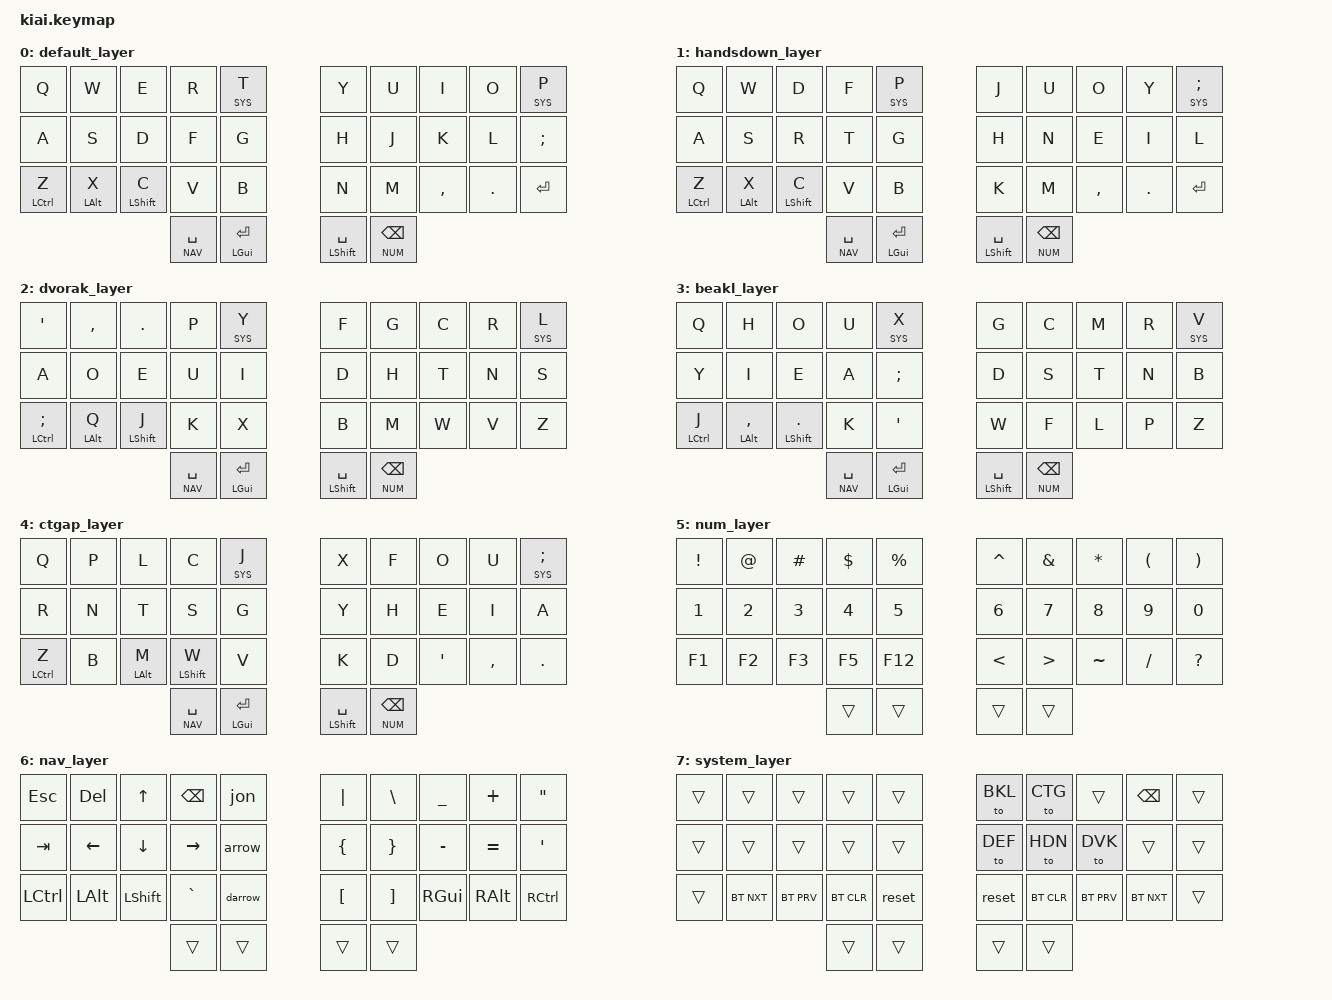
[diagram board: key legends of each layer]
#include <behaviors.dtsi>
#include <dt-bindings/zmk/keys.h>
#include <dt-bindings/zmk/bt.h>

#define DEF 0
#define HDN 1
#define DVK 2
#define BKL 3
#define CTG 4
#define NUM 5
#define NAV 6
#define SYS 7

/ {

    behaviors {
        hm: homerow_mods {
            compatible = "zmk,behavior-hold-tap";
            label = "homerow mods";
            #binding-cells = <2>;
            tapping_term_ms = <225>;
            flavor = "tap-preferred";
            bindings = <&kp>, <&kp>;
        };

        
    };

    combos {
        compatible = "zmk,combos";

        combo_bspc {
            timeout-ms = <50>;
            key-positions = <17 18>;
            bindings = <&kp BSPC>;
        };
    };

    macros {
        jon: jon {
            label = "jon";
            compatible = "zmk,behavior-macro";
            #binding-cells = <0>;
            wait-ms = <10>;
            bindings
                = <&macro_tap_time 10>
                , <&kp J &kp O &kp N>
                ;
        };

        arrow: arrow {
            label = "arrow";
            compatible = "zmk,behavior-macro";
            #binding-cells = <0>;
            wait-ms = <10>;
            bindings
                = <&macro_tap_time 10>
                , <&kp MINUS &kp GT>
                ;
        };

        darrow: darrow {
            label = "double arrow";
            compatible = "zmk,behavior-macro";
            #binding-cells = <0>;
            wait-ms = <10>;
            bindings
                = <&macro_tap_time 10>
                , <&kp EQUAL &kp GT>
                ;
        };
    };

    keymap {
        compatible = "zmk,keymap";

        default_layer {
            bindings = <
                &kp Q   &kp W   &kp E   &kp R   &lt SYS T                       &kp Y   &kp U   &kp I   &kp O   &lt SYS P  
                &kp A   &kp S   &kp D   &kp F   &kp G                       &kp H   &kp J   &kp K   &kp L   &kp SEMICOLON  
                &hm LCTRL Z   &hm LALT X   &hm LSHFT C   &kp V   &kp B      &kp N   &kp M   &kp COMMA   &kp DOT   &kp ENTER
                        &lt NAV SPACE  &hm LGUI ENTER                  &hm LSHFT SPACE  &lt NUM BSPC
            >;
        };

        handsdown_layer {
            bindings = <
                &kp Q   &kp W   &kp D   &kp F   &lt SYS P                       &kp J &kp U   &kp O   &kp Y   &lt SYS SEMICOLON
                &kp A   &kp S  &kp R       &kp T   &kp G                       &kp H   &kp N   &kp E   &kp I   &kp L  
               &hm LCTRL Z   &hm LALT X   &hm LSHFT C   &kp V   &kp B      &kp K   &kp M   &kp COMMA   &kp DOT   &kp ENTER
                        &lt NAV SPACE   &hm LGUI   ENTER                &hm LSHFT SPACE  &lt NUM BSPC
            >;
        };

        dvorak_layer {
            bindings = <
                &kp SQT   &kp COMMA   &kp DOT   &kp P   &lt SYS Y                       &kp F &kp G   &kp C   &kp R   &lt SYS L
                &kp A   &kp O  &kp E       &kp U   &kp I                      &kp D   &kp H   &kp T   &kp N   &kp S  
               &hm LCTRL SEMICOLON   &hm LALT Q   &hm LSHFT J   &kp K   &kp X      &kp B   &kp M   &kp W   &kp V   &kp Z
                        &lt NAV SPACE   &hm LGUI   ENTER                &hm LSHFT SPACE  &lt NUM BSPC
            >;
        };

        beakl_layer {
            bindings = <
                &kp Q   &kp H   &kp O   &kp U   &lt SYS X                        &kp G   &kp C  &kp M &kp R   &lt SYS V
                &kp Y   &kp I  &kp E       &kp A   &kp SEMICOLON                      &kp D   &kp S   &kp T   &kp N   &kp B  
               &hm LCTRL J   &hm LALT COMMA   &hm LSHFT DOT   &kp K   &kp SQT      &kp W   &kp F   &kp L   &kp P   &kp Z
                        &lt NAV SPACE   &hm LGUI   ENTER                &hm LSHFT SPACE  &lt NUM BSPC
            >;
        };

        ctgap_layer {
            bindings = <
                &kp Q   &kp P   &kp L   &kp C   &lt SYS J                &kp X   &kp F  &kp O     &kp U   &lt SYS SEMICOLON
                &kp R   &kp N  &kp T    &kp S   &kp G                    &kp Y   &kp H   &kp E   &kp I   &kp A  
               &hm LCTRL Z   &kp B  &hm LALT M   &hm LSHFT W   &kp V     &kp K   &kp D   &kp SQT  &kp COMMA   &kp DOT
                        &lt NAV SPACE   &hm LGUI   ENTER                &hm LSHFT SPACE  &lt NUM BSPC
            >;
        };

        num_layer {
            bindings = <
                &kp EXCL   &kp AT   &kp HASH   &kp DOLLAR   &kp PERCENT           &kp CARET   &kp AMPS   &kp STAR   &kp LPAR   &kp RPAR  
                &kp N1   &kp N2   &kp N3   &kp N4   &kp N5                          &kp N6   &kp N7  &kp N8   &kp N9   &kp N0  
                &kp F1   &kp F2   &kp F3   &kp F5   &kp F12                     &kp LT   &kp GT   &kp TILDE   &kp FSLH   &kp QMARK 
                        &trans   &trans                     &trans   &trans  
            >;
        };

        nav_layer {
            bindings = <
                &kp ESC   &kp DEL   &kp UP  &kp BSPC    &jon                &kp PIPE    &kp BSLH  &kp UNDER   &kp PLUS   &kp DQT
                &kp TAB   &kp LEFT   &kp DOWN   &kp RIGHT   &arrow           &kp LBRC   &kp RBRC   &kp MINUS   &kp EQUAL    &kp SQT  
                &kp LCTRL   &kp LALT   &kp LSHFT   &kp GRAVE   &darrow       &kp LBKT   &kp RBKT   &kp RGUI   &kp RALT   &kp RCTRL
                        &trans   &trans                     &trans   &trans  
            >;
        };

        system_layer {
            bindings = <
                 &trans &trans   &trans  &trans   &trans               &to BKL   &to CTG  &trans   &kp BSPC   &trans  
                 &trans   &trans  &trans   &trans  &trans              &to DEF   &to HDN  &to DVK   &trans    &trans
                 &trans   &bt BT_NXT  &bt BT_PRV  &bt BT_CLR   &reset      &reset   &bt BT_CLR  &bt BT_PRV   &bt BT_NXT  &trans
                        &trans   &trans                     &trans   &trans  
            >;
        };

        


    };
};
